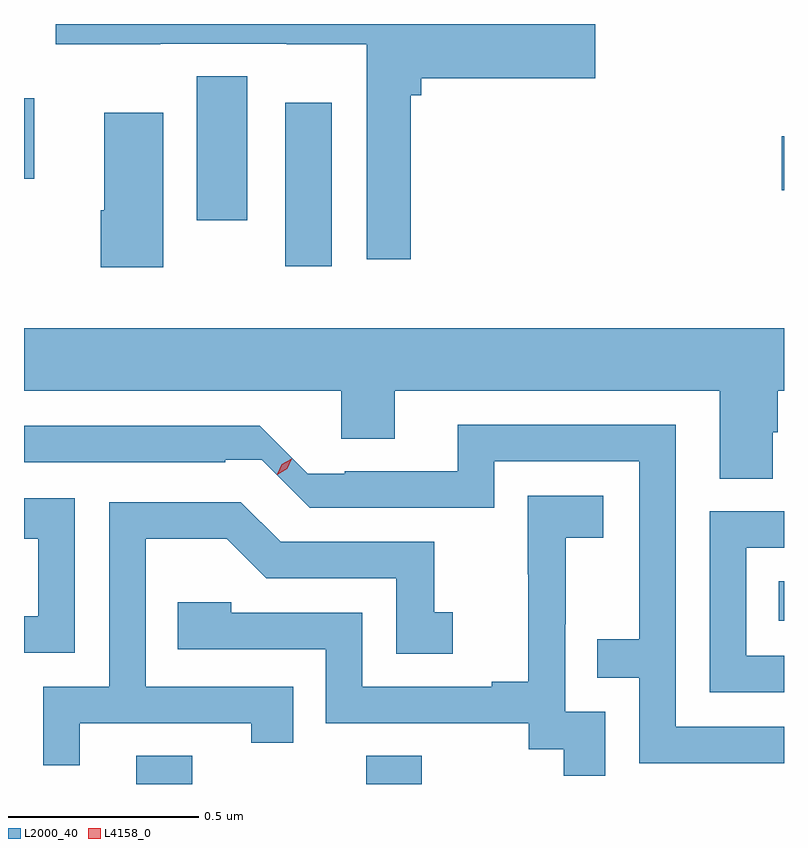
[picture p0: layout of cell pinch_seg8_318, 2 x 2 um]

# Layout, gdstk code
import gdstk
lib = gdstk.Library(unit=1e-6, precision=1e-09)
def R(c, l, rs):  # rectangles x0, y0, x1, y1
    for r in rs: c.add(gdstk.rectangle(r[:2], r[2:], *l))
def P(c, l, *ps):  # polygons
    for p in ps: c.add(gdstk.Polygon(p, *l))
L2000_40 = (2000, 40)
L4158_0 = (4158, 0)

pinch_seg8_318 = lib.new_cell('pinch_seg8_318')
R(pinch_seg8_318, L2000_40, [(514.175,1130.117,514.323,1130.192), (514.78,1130.117,514.927,1130.192), (515.866,1130.546,515.88,1130.65), (514.568,1131.48,514.69,1131.91), (514.334,1131.6,514.468,1131.98), (515.874,1131.679,515.88,1131.821), (513.88,1131.71,513.907,1131.922)])
P(pinch_seg8_318, L2000_40, [(514.898,1131.929),(514.925,1131.929),(514.925,1131.974),(515.383,1131.974),(515.383,1132.116),(514.912,1132.116),(514.912,1132.117),(513.963,1132.117),(513.963,1132.064),(514.238,1132.064),(514.238,1132.065),(514.572,1132.065),(514.572,1132.064),(514.782,1132.064),(514.782,1131.498),(514.898,1131.498)],
  [(514.246,1131.883),(514.091,1131.883),(514.091,1131.627),(514.082,1131.627),(514.082,1131.477),(514.246,1131.477)],
  [(515.85,1131.043),(515.864,1131.043),(515.864,1131.152),(515.88,1131.152),(515.88,1131.316),(513.88,1131.316),(513.88,1131.152),(514.715,1131.152),(514.715,1131.025),(514.855,1131.025),(514.855,1131.152),(515.711,1131.152),(515.711,1130.92),(515.85,1130.92)],
  [(515.88,1130.268),(515.595,1130.268),(515.595,1131.063),(515.021,1131.063),(515.021,1130.94),(514.724,1130.94),(514.724,1130.934),(514.627,1130.934),(514.501,1131.06),(513.88,1131.06),(513.88,1130.964),(514.409,1130.964),(514.409,1130.97),(514.506,1130.97),(514.632,1130.844),(515.118,1130.844),(515.118,1130.967),(515.499,1130.967),(515.499,1130.498),(515.389,1130.498),(515.389,1130.397),(515.499,1130.397),(515.499,1130.172),(515.88,1130.172)],
  [(515.409,1130.307),(515.304,1130.307),(515.304,1130.537),(515.306,1130.537),(515.306,1130.765),(515.404,1130.765),(515.404,1130.875),(515.206,1130.875),(515.206,1130.669),(515.207,1130.669),(515.207,1130.386),(515.111,1130.386),(515.111,1130.373),(514.77,1130.373),(514.77,1130.568),(514.425,1130.568),(514.425,1130.595),(514.285,1130.595),(514.285,1130.472),(514.674,1130.472),(514.674,1130.277),(515.208,1130.277),(515.208,1130.209),(515.301,1130.209),(515.301,1130.139),(515.409,1130.139)],
  [(514.014,1130.869),(513.88,1130.869),(513.88,1130.763),(513.917,1130.763),(513.917,1130.559),(513.88,1130.559),(513.88,1130.463),(514.014,1130.463)],
  [(514.027,1130.277),(514.478,1130.277),(514.478,1130.226),(514.589,1130.226),(514.589,1130.373),(514.2,1130.373),(514.2,1130.762),(514.414,1130.762),(514.518,1130.658),(514.86,1130.658),(514.86,1130.46),(515.008,1130.46),(515.008,1130.569),(514.959,1130.569),(514.959,1130.754),(514.555,1130.754),(514.45,1130.859),(514.104,1130.859),(514.104,1130.373),(513.93,1130.373),(513.93,1130.166),(514.027,1130.166)],
  [(515.88,1130.454),(515.781,1130.454),(515.781,1130.739),(515.88,1130.739),(515.88,1130.835),(515.685,1130.835),(515.685,1130.358),(515.88,1130.358)])
P(pinch_seg8_318, L4158_0, [(514.546,1130.931),(514.546,1130.932),(514.558,1130.959),(514.584,1130.973),(514.584,1130.973),(514.584,1130.973),(514.573,1130.946),(514.547,1130.931)])

lib.write_gds('pinch_seg8_318.gds')
